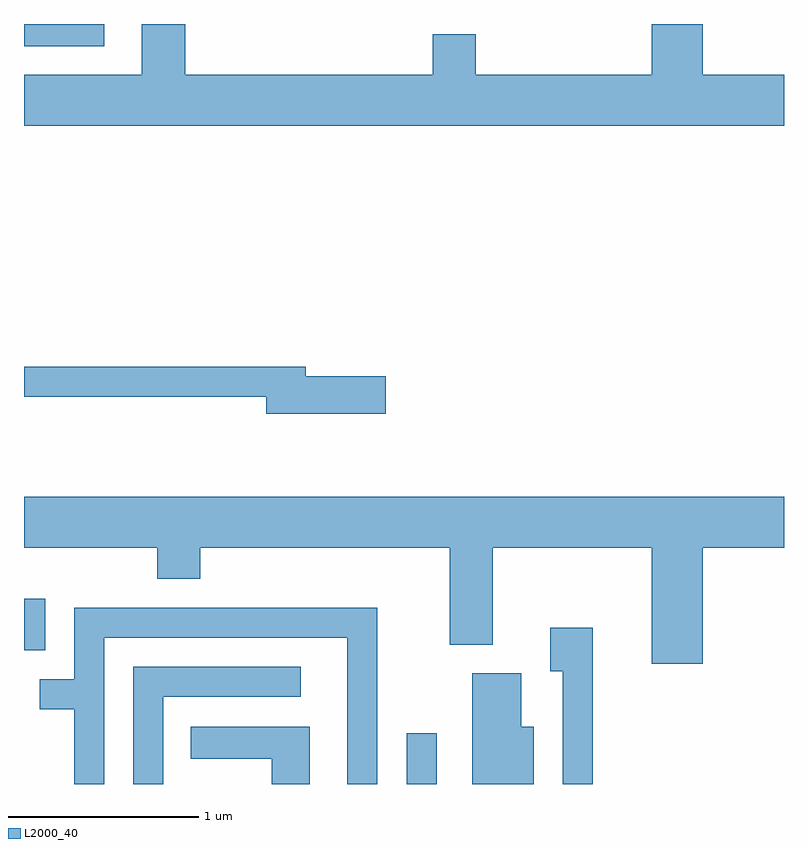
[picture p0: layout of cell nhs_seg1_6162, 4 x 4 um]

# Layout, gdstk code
import gdstk
lib = gdstk.Library(unit=1e-6, precision=1e-09)
def R(c, l, rs):  # rectangles x0, y0, x1, y1
    for r in rs: c.add(gdstk.rectangle(r[:2], r[2:], *l))
def P(c, l, *ps):  # polygons
    for p in ps: c.add(gdstk.Polygon(p, *l))
L2000_40 = (2000, 40)

nhs_seg1_6162 = lib.new_cell('nhs_seg1_6162')
R(nhs_seg1_6162, L2000_40, [(373.626,851.712,373.784,851.978), (371.611,852.416,371.724,852.688), (371.611,855.596,372.034,855.712)])
P(nhs_seg1_6162, L2000_40, [(375.611,855.444),(375.184,855.444),(375.184,855.712),(374.916,855.712),(374.916,855.444),(373.989,855.444),(373.989,855.659),(373.761,855.659),(373.761,855.444),(372.459,855.444),(372.459,855.712),(372.231,855.712),(372.231,855.444),(371.611,855.444),(371.611,855.176),(375.611,855.176)],
  [(373.514,853.859),(373.094,853.859),(373.094,853.909),(371.611,853.909),(371.611,853.751),(372.886,853.751),(372.886,853.661),(373.514,853.661)],
  [(375.184,852.956),(375.611,852.956),(375.611,853.224),(371.611,853.224),(371.611,852.956),(372.311,852.956),(372.311,852.791),(372.539,852.791),(372.539,852.956),(373.851,852.956),(373.851,852.446),(374.079,852.446),(374.079,852.956),(374.916,852.956),(374.916,852.346),(375.184,852.346)],
  [(372.034,852.481),(373.311,852.481),(373.311,851.712),(373.469,851.712),(373.469,852.639),(371.876,852.639),(371.876,852.264),(371.693,852.264),(371.693,852.106),(371.876,852.106),(371.876,851.712),(372.034,851.712)],
  [(374.604,852.534),(374.381,852.534),(374.381,852.306),(374.446,852.306),(374.446,851.712),(374.604,851.712)],
  [(372.344,852.171),(373.068,852.171),(373.068,852.329),(372.186,852.329),(372.186,851.712),(372.344,851.712)],
  [(374.294,852.014),(374.229,852.014),(374.229,852.294),(373.971,852.294),(373.971,851.712),(374.294,851.712)],
  [(373.114,852.014),(372.488,852.014),(372.488,851.846),(372.916,851.846),(372.916,851.712),(373.114,851.712)])

lib.write_gds('nhs_seg1_6162.gds')
